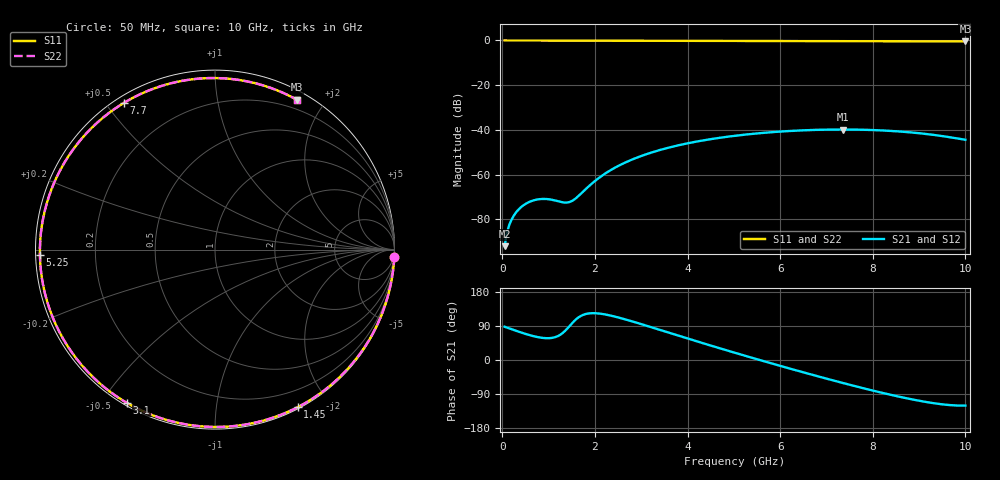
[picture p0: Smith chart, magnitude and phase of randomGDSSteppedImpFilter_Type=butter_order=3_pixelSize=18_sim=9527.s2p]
! freq	dB(S11)	phase(S11)	dB(S12)	phase(S12)
!  dB(S21)	phase(S21)	dB(S22)	phase(S22)
!S-par simulation data
#  GHz  S  DB  R 50
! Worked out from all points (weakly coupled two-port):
!   200 points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, 50 MHz to 10 GHz, reference 50 ohm
!   highest |S21| = -39.80 dB at 7.35 GHz (marker M1); lowest = -91.9 dB at 50 MHz (marker M2)
!   lowest |S11| = -0.4 dB at 10 GHz (marker M3), VSWR 40.18, Z = 4.76 + j83.9 ohm
!   |S11| at or under -10 dB: nowhere
!   |S22| runs from -0.4 to 0.0 dB; largest |S21 - S12| = 0
!   S11 on the Smith chart (normalised r, x): 50 MHz: 0, -51; 1.45 GHz: 0.02, -1.65; 3.1 GHz: 0.01, -0.58; 5.25 GHz: 0.01, -0.02; 7.7 GHz: 0.03, +0.56; 10 GHz: 0.10, +1.68
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0.05  -0.00 -2.3  -91.94 87.8  -91.94 87.8  -0.00 -2.3
0.2  -0.01 -9.0  -80.07 81.2  -80.07 81.2  -0.01 -9.0
0.3  -0.02 -13.5  -76.78 76.9  -76.78 76.9  -0.02 -13.5
0.4  -0.03 -17.9  -74.60 72.8  -74.60 72.8  -0.03 -17.9
0.7  -0.04 -31.1  -71.33 62.2  -71.33 62.2  -0.04 -31.1
0.95  -0.05 -41.8  -70.86 57.6  -70.86 57.6  -0.05 -41.8
1.45  -0.07 -62.3  -72.23 89.2  -72.23 89.2  -0.07 -62.3
1.75  -0.09 -73.9  -67.46 119.3  -67.46 119.3  -0.09 -73.9
2.05  -0.10 -85.0  -62.02 123.1  -62.02 123.1  -0.10 -85.0
2.35  -0.11 -95.6  -57.84 116.9  -57.84 116.9  -0.11 -95.6
3.1  -0.13 -119.9  -50.92 91.0  -50.92 91.0  -0.13 -119.9
3.4  -0.14 -128.9  -48.98 79.6  -48.98 79.6  -0.14 -128.9
4.2  -0.17 -151.3  -45.18 49.3  -45.18 49.3  -0.17 -151.3
5.05  -0.20 -173.2  -42.54 18.1  -42.54 18.1  -0.20 -173.2
5.25  -0.21 -178.2  -42.07 10.9  -42.07 10.9  -0.21 -178.2
5.95  -0.25 164.6  -40.80 -13.7  -40.80 -13.7  -0.25 164.6
6.7  -0.28 146.4  -40.01 -39.3  -40.01 -39.3  -0.28 146.4
7.35  -0.32 130.5  -39.80 -60.5  -39.80 -60.5  -0.32 130.4
7.7  -0.33 121.8  -39.87 -71.6  -39.87 -71.6  -0.33 121.7
8.35  -0.37 105.3  -40.38 -90.8  -40.38 -90.8  -0.37 105.2
9.2  -0.40 83.0  -41.92 -111.8  -41.92 -111.8  -0.40 82.9
10  -0.43 61.4  -44.39 -120.2  -44.39 -120.2  -0.43 61.4
